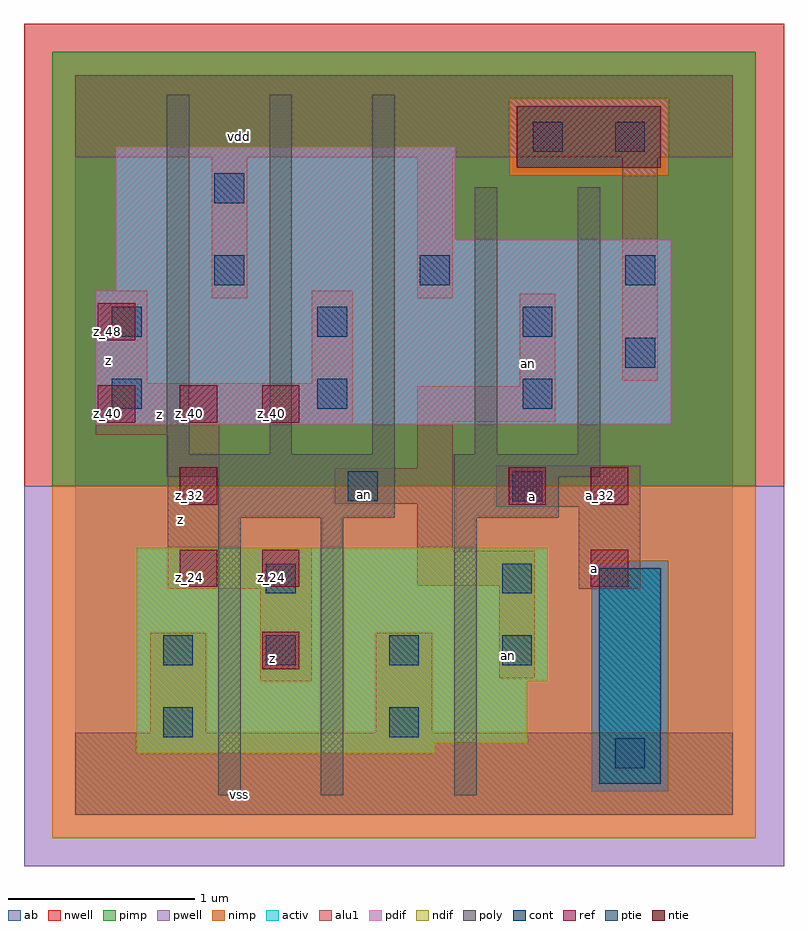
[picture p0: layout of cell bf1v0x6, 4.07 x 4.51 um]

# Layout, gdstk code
import gdstk
lib = gdstk.Library(unit=1e-6, precision=2.5e-09)
def R(c, l, rs):  # rectangles x0, y0, x1, y1
    for r in rs: c.add(gdstk.rectangle(r[:2], r[2:], *l))
def A(c, l, x, y, w, h, nx, ny, dx, dy):  # array of equal rectangles
    R(c, l, [(x+i*dx, y+j*dy, x+i*dx+w, y+j*dy+h) for i in range(nx) for j in range(ny)])
ndif = (3, 0)
pdif = (4, 0)
ntie = (5, 0)
ptie = (6, 0)
ref = (24, 0)
cont = (25, 0)
pwell = (41, 0)
nwell = (42, 0)
activ = (43, 0)
pimp = (44, 0)
nimp = (45, 0)
poly = (46, 0)
alu1 = (49, 0)
ab = (63, 0)

bf1v0x6 = lib.new_cell('bf1v0x6')
R(bf1v0x6, ndif, [(0.33,0.33,1.925,0.385), (0.33,0.385,2.42,0.715), (0.33,0.715,2.53,1.43)])
R(bf1v0x6, pdif, [(0.11,2.09,3.19,2.805), (0.22,2.805,3.19,3.08), (0.22,3.08,2.035,3.575)])
R(bf1v0x6, ntie, [(2.365,3.465,3.135,3.795)])
R(bf1v0x6, ptie, [(2.805,0.165,3.135,1.32)])
A(bf1v0x6, ref, 0.12, 2.1, 0.2, 0.2, 3, 1, 0.44, 0)
R(bf1v0x6, ref, [(1,0.78,1.2,0.98), (0.56,1.22,0.76,1.42), (1,1.22,1.2,1.42), (2.76,1.22,2.96,1.42), (0.56,1.66,0.76,1.86), (2.32,1.66,2.52,1.86), (2.76,1.66,2.96,1.86), (0.12,2.54,0.32,2.74)])
A(bf1v0x6, cont, 0.195, 2.175, 0.16, 0.16, 3, 2, 1.1, 0.385)
A(bf1v0x6, cont, 0.745, 2.835, 0.16, 0.16, 3, 1, 1.1, 0)
R(bf1v0x6, cont, [(2.89,0.25,3.05,0.41), (0.47,0.415,0.63,0.575), (1.68,0.415,1.84,0.575), (0.47,0.8,0.63,0.96), (1.02,0.8,1.18,0.96), (1.68,0.8,1.84,0.96), (2.285,0.8,2.445,0.96), (1.02,1.185,1.18,1.345), (2.285,1.185,2.445,1.345), (1.46,1.68,1.62,1.84), (2.34,1.68,2.5,1.84), (2.945,2.395,3.105,2.555), (0.745,3.275,0.905,3.435), (2.45,3.55,2.61,3.71), (2.89,3.55,3.05,3.71)])
R(bf1v0x6, pwell, [(-0.275,-0.275,3.795,1.76)])
R(bf1v0x6, nwell, [(-0.275,1.76,3.795,4.235)])
R(bf1v0x6, activ, [(2.805,0.165,3.135,1.32), (0.33,0.33,1.925,0.385), (0.33,0.385,2.42,0.715), (0.33,0.715,2.53,1.43), (0.11,2.09,3.19,2.805), (0.22,2.805,3.19,3.08), (0.22,3.08,2.035,3.575), (2.365,3.465,3.135,3.795)])
R(bf1v0x6, pimp, [(2.765,0.125,3.175,1.36), (-0.125,1.76,3.645,3.425), (-0.125,3.425,2.325,3.835), (3.175,3.425,3.645,3.835), (-0.125,3.835,3.645,4.085)])
R(bf1v0x6, nimp, [(-0.125,-0.125,3.645,0.125), (-0.125,0.125,2.765,1.36), (3.175,0.125,3.645,1.36), (-0.125,1.36,3.645,1.76), (2.325,3.425,3.175,3.835)])
A(bf1v0x6, poly, 0.49, 1.93, 0.12, 1.925, 3, 1, 0.55, 0)
R(bf1v0x6, poly, [(0.765,0.105,0.885,1.59), (1.315,0.105,1.435,1.59), (2.03,0.105,2.15,1.59), (0.765,1.59,1.71,1.81), (2.03,1.59,2.59,1.81), (0.49,1.81,1.71,1.93), (2.03,1.81,2.81,1.93), (2.14,1.93,2.26,3.36), (2.69,1.93,2.81,3.36)])
R(bf1v0x6, alu1, [(0,0,3.52,0.44), (0.4,0.44,0.7,0.975), (1.61,0.44,1.91,0.975), (0.99,0.715,1.265,1.21), (2.27,0.73,2.46,1.225), (0.495,1.21,1.265,1.43), (2.695,1.21,3.025,1.65), (1.83,1.225,2.46,1.415), (1.83,1.415,2.02,1.665), (0.495,1.43,0.77,2.035), (2.255,1.65,3.025,1.87), (1.39,1.665,2.02,1.855), (1.83,1.855,2.02,2.105), (0.11,2.035,0.77,2.09), (0.11,2.09,1.485,2.31), (1.83,2.105,2.57,2.295), (2.38,2.295,2.57,2.79), (0.11,2.31,0.385,2.805), (1.265,2.31,1.485,2.805), (2.93,2.325,3.12,3.52), (0.73,2.765,0.92,3.52), (1.83,2.765,2.02,3.52), (0,3.52,3.52,3.96)])
R(bf1v0x6, ab, [(0,0,3.52,3.96)])
bf1v0x6.add(gdstk.Label('vss', (0.88,0.11), layer=49, texttype=0))
bf1v0x6.add(gdstk.Label('a', (2.7775,1.32), layer=49, texttype=0))
bf1v0x6.add(gdstk.Label('an', (2.3175,0.8525), layer=49, texttype=0))
bf1v0x6.add(gdstk.Label('z', (1.0575,0.8375), layer=49, texttype=0))
bf1v0x6.add(gdstk.Label('a', (2.4475,1.705), layer=49, texttype=0))
bf1v0x6.add(gdstk.Label('an', (1.5475,1.7125), layer=49, texttype=0))
bf1v0x6.add(gdstk.Label('z', (0.5625,1.58), layer=49, texttype=0))
bf1v0x6.add(gdstk.Label('an', (2.4275,2.4175), layer=49, texttype=0))
bf1v0x6.add(gdstk.Label('z', (0.4525,2.145), layer=49, texttype=0))
bf1v0x6.add(gdstk.Label('z', (0.1775,2.4325), layer=49, texttype=0))
bf1v0x6.add(gdstk.Label('vdd', (0.88,3.63), layer=49, texttype=0))
bf1v0x6.add(gdstk.Label('z_24', (0.61,1.27), layer=24, texttype=0))
bf1v0x6.add(gdstk.Label('z_32', (0.61,1.71), layer=24, texttype=0))
bf1v0x6.add(gdstk.Label('z_40', (0.61,2.15), layer=24, texttype=0))
bf1v0x6.add(gdstk.Label('z_16', (1.05,0.83), layer=24, texttype=0))
bf1v0x6.add(gdstk.Label('z_24', (1.05,1.27), layer=24, texttype=0))
bf1v0x6.add(gdstk.Label('z_40', (1.05,2.15), layer=24, texttype=0))
bf1v0x6.add(gdstk.Label('z_40', (0.17,2.15), layer=24, texttype=0))
bf1v0x6.add(gdstk.Label('z_48', (0.17,2.59), layer=24, texttype=0))
bf1v0x6.add(gdstk.Label('a_32', (2.37,1.71), layer=24, texttype=0))
bf1v0x6.add(gdstk.Label('a_24', (2.81,1.27), layer=24, texttype=0))
bf1v0x6.add(gdstk.Label('a_32', (2.81,1.71), layer=24, texttype=0))

lib.write_gds('bf1v0x6.gds')
